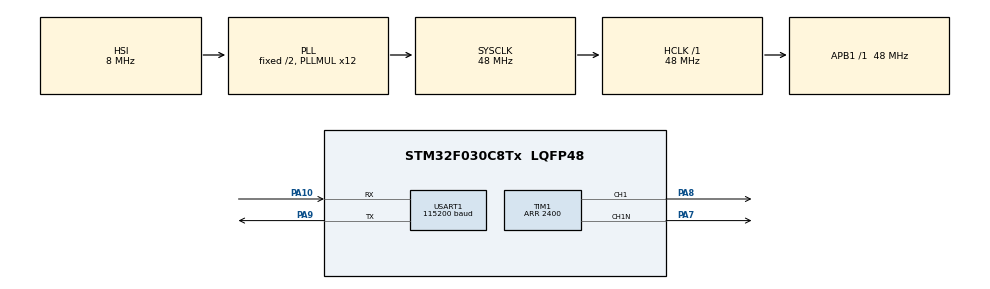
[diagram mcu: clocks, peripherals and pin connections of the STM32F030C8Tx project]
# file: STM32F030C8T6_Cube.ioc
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Dma.Request0=USART1_RX
Dma.Request1=USART1_TX
Dma.USART1_RX.0.Direction=DMA_PERIPH_TO_MEMORY
Dma.USART1_RX.0.Instance=DMA1_Channel3
Dma.USART1_RX.0.MemDataAlignment=DMA_MDATAALIGN_BYTE
Dma.USART1_RX.0.MemInc=DMA_MINC_ENABLE
Dma.USART1_RX.0.Mode=DMA_NORMAL
Dma.USART1_RX.0.PeriphDataAlignment=DMA_PDATAALIGN_BYTE
Dma.USART1_RX.0.PeriphInc=DMA_PINC_DISABLE
Dma.USART1_RX.0.Priority=DMA_PRIORITY_LOW
Dma.USART1_TX.1.Direction=DMA_MEMORY_TO_PERIPH
Dma.USART1_TX.1.Instance=DMA1_Channel2
Dma.USART1_TX.1.MemDataAlignment=DMA_MDATAALIGN_BYTE
Dma.USART1_TX.1.MemInc=DMA_MINC_ENABLE
Dma.USART1_TX.1.Mode=DMA_NORMAL
Dma.USART1_TX.1.PeriphDataAlignment=DMA_PDATAALIGN_BYTE
Dma.USART1_TX.1.PeriphInc=DMA_PINC_DISABLE
Dma.USART1_TX.1.Priority=DMA_PRIORITY_LOW
Mcu.Family=STM32F0
Mcu.Name=STM32F030C8Tx
Mcu.Package=LQFP48
NVIC.DMA1_Channel2_3_IRQn=true\:0\:0\:false\:false\:true
NVIC.USART1_IRQn=true\:0\:0\:false\:false\:true
PA10.Mode=Asynchronous
PA10.Signal=USART1_RX
PA7.Mode=PWM Generation1 CH1 CH1N
PA7.Signal=TIM1_CH1N
PA8.Signal=S_TIM1_CH1
PA9.Mode=Asynchronous
PA9.Signal=USART1_TX
PF0-OSC_IN.Mode=HSE-External-Oscillator
PF0-OSC_IN.Signal=RCC_OSC_IN
PF1-OSC_OUT.Mode=HSE-External-Oscillator
PF1-OSC_OUT.Signal=RCC_OSC_OUT
ProjectManager.HeapSize=0x800
ProjectManager.StackSize=0x400
ProjectManager.TargetToolchain=MDK-ARM V5
RCC.AHBFreq_Value=48000000
RCC.APB1Freq_Value=48000000
RCC.APB1TimFreq_Value=48000000
RCC.HCLKFreq_Value=48000000
RCC.PLLMUL=RCC_PLL_MUL12
RCC.SYSCLKFreq_VALUE=48000000
RCC.SYSCLKSource=RCC_SYSCLKSOURCE_PLLCLK
SH.S_TIM1_CH1.0=TIM1_CH1,PWM Generation1 CH1 CH1N
TIM1.Period=2400
USART1.BaudRate=115200
board=STM32F030C8T6_Cube

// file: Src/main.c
/**
  ******************************************************************************
  * File Name          : main.c
  * Description        : Main program body
  ******************************************************************************
  *
  * COPYRIGHT(c) 2017 STMicroelectronics
  *
  * Redistribution and use in source and binary forms, with or without modification,
  * are permitted provided that the following conditions are met:
  *   1. Redistributions of source code must retain the above copyright notice,
  *      this list of conditions and the following disclaimer.
  *   2. Redistributions in binary form must reproduce the above copyright notice,
  *      this list of conditions and the following disclaimer in the documentation
  *      and/or other materials provided with the distribution.
  *   3. Neither the name of STMicroelectronics nor the names of its contributors
  *      may be used to endorse or promote products derived from this software
  *      without specific prior written permission.
  *
  * THIS SOFTWARE IS PROVIDED BY THE COPYRIGHT HOLDERS AND CONTRIBUTORS "AS IS"
  * AND ANY EXPRESS OR IMPLIED WARRANTIES, INCLUDING, BUT NOT LIMITED TO, THE
  * IMPLIED WARRANTIES OF MERCHANTABILITY AND FITNESS FOR A PARTICULAR PURPOSE ARE
  * DISCLAIMED. IN NO EVENT SHALL THE COPYRIGHT HOLDER OR CONTRIBUTORS BE LIABLE
  * FOR ANY DIRECT, INDIRECT, INCIDENTAL, SPECIAL, EXEMPLARY, OR CONSEQUENTIAL
  * DAMAGES (INCLUDING, BUT NOT LIMITED TO, PROCUREMENT OF SUBSTITUTE GOODS OR
  * SERVICES; LOSS OF USE, DATA, OR PROFITS; OR BUSINESS INTERRUPTION) HOWEVER
  * CAUSED AND ON ANY THEORY OF LIABILITY, WHETHER IN CONTRACT, STRICT LIABILITY,
  * OR TORT (INCLUDING NEGLIGENCE OR OTHERWISE) ARISING IN ANY WAY OUT OF THE USE
  * OF THIS SOFTWARE, EVEN IF ADVISED OF THE POSSIBILITY OF SUCH DAMAGE.
  *
  ******************************************************************************
  */
#include "main.h"
#include "stm32f0xx_hal.h"
#include "dma.h"
#include "tim.h"
#include "usart.h"
#include "gpio.h"

/* USER CODE BEGIN Includes */
#include "TaskTimeManager.h"
#include "ComBuff.h"
#include "ProtocolFrame.h"
#include "ProtocolHandle.h"

/* USER CODE END Includes */

/* USER CODE BEGIN PV */
/* Private variables ---------------------------------------------------------*/

/* USER CODE END PV */

void SystemClock_Config(void);
void Error_Handler(void);

/* USER CODE BEGIN PFP */
/* Private function prototypes -----------------------------------------------*/

/* USER CODE END PFP */

/* USER CODE BEGIN 0 */
void LED_TEST(void){
  static uint8_t seq = 0;
//  uint8_t data[100] = "123456\r\n";
//  Uart1_DMA_Sender.Write(&Uart1_DMA_Sender, data, 8);
//  memset(data, 0, 8);
  //PRINT_HEAP();
  printf("LED_TEST:%d\r\n", seq++);
}
/* USER CODE END 0 */

int main(void)
{

  /* MCU Configuration----------------------------------------------------------*/

  /* Reset of all peripherals, Initializes the Flash interface and the Systick. */
  HAL_Init();

  /* Configure the system clock */
  SystemClock_Config();

  /* Initialize all configured peripherals */
  MX_GPIO_Init();
  MX_DMA_Init();
  MX_USART1_UART_Init();
  MX_TIM1_Init();

  /* USER CODE BEGIN 2 */
  TaskTime_Init();
  ProtocolFrame_Init();
  Log_Init();
  ComBuff_Init();

  TIM_OC_InitTypeDef OC_cfg;
  OC_cfg.OCMode = TIM_OCMODE_PWM1;
  OC_cfg.Pulse = 0;
  OC_cfg.OCFastMode = TIM_OCFAST_ENABLE;
  OC_cfg.OCIdleState = TIM_OCIDLESTATE_RESET;
  OC_cfg.OCNIdleState = TIM_OCNIDLESTATE_RESET;

	OC_cfg.OCPolarity = TIM_OCNPOLARITY_LOW;
	OC_cfg.OCNPolarity = TIM_OCPOLARITY_HIGH;
	HAL_TIM_PWM_ConfigChannel(&htim1, &OC_cfg, TIM_CHANNEL_1);
	HAL_TIM_PWM_Start(&htim1,TIM_CHANNEL_1);
	HAL_TIMEx_PWMN_Start(&htim1,TIM_CHANNEL_1);

	/*-----------���Ե�������-----------------*/
  TaskTime_Add(TaskID++, TimeCycle(0,500), LED_TEST, Real_Mode);
	/*-----------������������-----------------*/
  TaskTime_Add(TaskID++, TimeCycle(0,30), SenderKeepTransmit, Count_Mode);
	/*-----------Э���������-----------------*/
  TaskTime_Add(TaskID++, TimeCycle(0,30), PaddingProtocol, Real_Mode);
	/*-----------Э��ִ������-----------------*/
	TaskTime_Add(TaskID++, TimeCycle(0,30), FetchProtocols, Real_Mode);
  /* USER CODE END 2 */

  /* Infinite loop */
  while (1)
  {

  /* USER CODE BEGIN 3 */
    TaskTime_Run();

  }
  /* USER CODE END 3 */

}

/** System Clock Configuration
*/
void SystemClock_Config(void)
{

  RCC_OscInitTypeDef RCC_OscInitStruct;
  RCC_ClkInitTypeDef RCC_ClkInitStruct;
  RCC_PeriphCLKInitTypeDef PeriphClkInit;

    /**Initializes the CPU, AHB and APB busses clocks
    */
  RCC_OscInitStruct.OscillatorType = RCC_OSCILLATORTYPE_HSI;
  RCC_OscInitStruct.HSIState = RCC_HSI_ON;
  RCC_OscInitStruct.HSICalibrationValue = 16;
  RCC_OscInitStruct.PLL.PLLState = RCC_PLL_ON;
  RCC_OscInitStruct.PLL.PLLSource = RCC_PLLSOURCE_HSI;
  RCC_OscInitStruct.PLL.PLLMUL = RCC_PLL_MUL12;
  RCC_OscInitStruct.PLL.PREDIV = RCC_PREDIV_DIV1;
  if (HAL_RCC_OscConfig(&RCC_OscInitStruct) != HAL_OK)
  {
    Error_Handler();
  }

    /**Initializes the CPU, AHB and APB busses clocks
    */
  RCC_ClkInitStruct.ClockType = RCC_CLOCKTYPE_HCLK|RCC_CLOCKTYPE_SYSCLK
                              |RCC_CLOCKTYPE_PCLK1;
  RCC_ClkInitStruct.SYSCLKSource = RCC_SYSCLKSOURCE_PLLCLK;
  RCC_ClkInitStruct.AHBCLKDivider = RCC_SYSCLK_DIV1;
  RCC_ClkInitStruct.APB1CLKDivider = RCC_HCLK_DIV1;

  if (HAL_RCC_ClockConfig(&RCC_ClkInitStruct, FLASH_LATENCY_1) != HAL_OK)
  {
    Error_Handler();
  }

  PeriphClkInit.PeriphClockSelection = RCC_PERIPHCLK_USART1;
  PeriphClkInit.Usart1ClockSelection = RCC_USART1CLKSOURCE_PCLK1;
  if (HAL_RCCEx_PeriphCLKConfig(&PeriphClkInit) != HAL_OK)
  {
    Error_Handler();
  }

    /**Configure the Systick interrupt time
    */
  HAL_SYSTICK_Config(HAL_RCC_GetHCLKFreq()/1000);

    /**Configure the Systick
    */
  HAL_SYSTICK_CLKSourceConfig(SYSTICK_CLKSOURCE_HCLK);

  /* SysTick_IRQn interrupt configuration */
  HAL_NVIC_SetPriority(SysTick_IRQn, 0, 0);
}

void Error_Handler(void)
{
  while(1)
  {
  }
}

/************************ (C) COPYRIGHT STMicroelectronics *****END OF FILE****/
